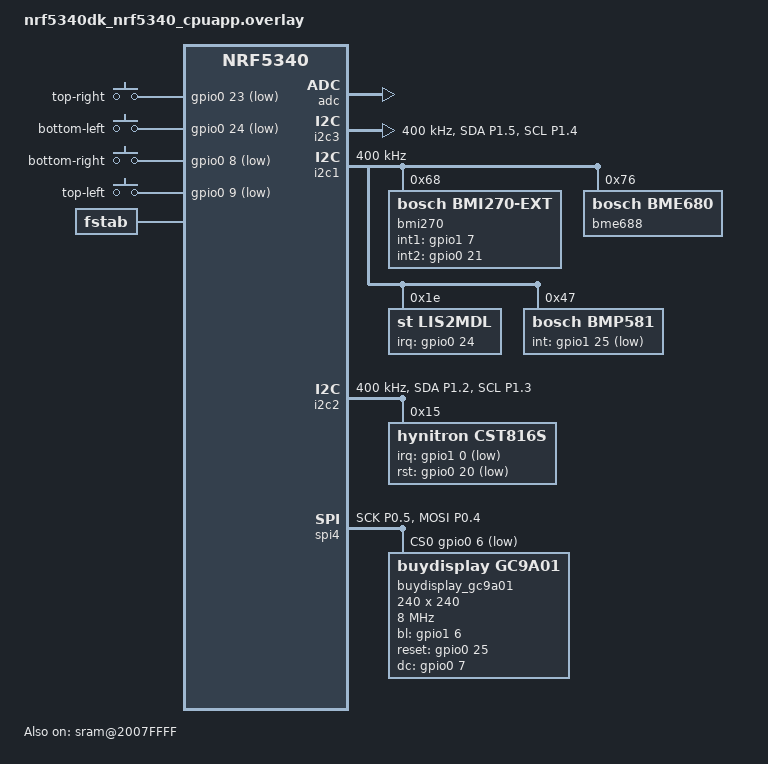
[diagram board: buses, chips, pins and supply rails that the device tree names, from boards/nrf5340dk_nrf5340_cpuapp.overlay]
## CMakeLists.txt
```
cmake_minimum_required(VERSION 3.20.0)

string(REGEX MATCH "zswatch_nrf5340_cpuapp(_ns)?@([0-9]+)$" ZSWATCH_BOARD "${BOARD}")
if(ZSWATCH_BOARD)
    set(ZSWATCH_REV ${CMAKE_MATCH_2})
    add_definitions(-DZSWATCH_REV=${ZSWATCH_REV})
    # Rev 3 and later will handle this later in a different way.
    if(${ZSWATCH_REV} EQUAL 2)
        set(DFU_BUILD true)
        set(PM_STATIC_YML_FILE ${CMAKE_CURRENT_SOURCE_DIR}/partition.yml)
        set(OVERLAY_CONFIG ${CMAKE_CURRENT_SOURCE_DIR}/boards/dfu.conf)
        set(mcuboot_DTC_OVERLAY_FILE ${CMAKE_CURRENT_SOURCE_DIR}/overlays/mcuboot.overlay)
    endif()
endif()

set(BOARD_ROOT ${CMAKE_CURRENT_SOURCE_DIR})
find_package(Zephyr REQUIRED HINTS $ENV{ZEPHYR_BASE})
project(ZSWatchFW)

add_subdirectory(drivers)
add_subdirectory(src/applications)
add_subdirectory(src/ext_drivers/bmi270)
add_subdirectory(src/ext_drivers/bmp581)

include_directories(src/)
include_directories(src/ui)
include_directories(src/applications)

target_sources(app PRIVATE src/main.c)
target_sources(app PRIVATE src/ram_retention_storage.c)
target_sources(app PRIVATE src/zsw_clock.c)
target_sources(app PRIVATE src/zsw_cpu_freq.c)

target_sources(app PRIVATE src/drivers/zsw_display_control.c)
target_sources(app PRIVATE src/drivers/zsw_vibration_motor.c)
target_sources(app PRIVATE src/drivers/zsw_vib_sound.c)

target_sources(app PRIVATE src/managers/zsw_app_manager.c)
target_sources(app PRIVATE src/managers/zsw_notification_manager.c)
target_sources(app PRIVATE src/managers/zsw_battery_manager.c)
target_sources(app PRIVATE src/managers/zsw_power_manager.c)
target_sources(app PRIVATE src/managers/zsw_phone_app_publisher.c)

target_sources(app PRIVATE src/battery/battery.c)
target_sources(app PRIVATE src/battery/zsw_charger.c)

target_sources(app PRIVATE src/ble/ble_aoa.c)
target_sources(app PRIVATE src/ble/ble_comm.c)
target_sources(app PRIVATE src/ble/ble_transport.c)
target_sources(app PRIVATE src/ble/zsw_gatt_sensor_server.c)

target_sources(app PRIVATE src/sensors/zsw_imu.c)
target_sources(app PRIVATE src/sensors/zsw_pressure_sensor.c)
target_sources(app PRIVATE src/sensors/zsw_magnetometer.c)
target_sources(app PRIVATE src/sensors/zsw_env_sensor.c)
target_sources(app PRIVATE src/sensors/zsw_light_sensor.c)

target_sources(app PRIVATE src/ui/notification/zsw_popup_notifcation.c)
target_sources(app PRIVATE src/ui/popup/zsw_popup_window.c)
target_sources(app PRIVATE src/ui/utils/zsw_ui_utils.c)

target_sources_ifdef(CONFIG_SPI_FLASH_LOADER app PRIVATE src/filesystem/zsw_rtt_flash_loader.c)
target_sources_ifdef(CONFIG_FILE_SYSTEM_LITTLEFS app PRIVATE src/filesystem/zsw_filesystem.c)
target_sources_ifdef(CONFIG_FILE_SYSTEM_LITTLEFS app PRIVATE src/filesystem/zsw_lvgl_spi_decoder.c)

if (DFU_BUILD)
    target_sources(app PRIVATE src/dfu.c)
endif()

FILE(GLOB img_sources src/images/*.c)
target_sources(app PRIVATE ${img_sources})

FILE(GLOB font_sources src/images/fonts/*.c)
target_sources(app PRIVATE ${font_sources})

zephyr_sources_ifdef(CONFIG_WATCHFACE_ANALOG src/ui/watchfaces/zsw_watchface_analog_ui.c)
zephyr_sources_ifdef(CONFIG_WATCHFACE_DIGITAL src/ui/watchfaces/zsw_watchface_digital_ui.c)
zephyr_sources_ifdef(CONFIG_WATCHFACE_MINIMAL src/ui/watchfaces/zsw_watchface_minimal_ui.c)

FILE(GLOB events_sources src/events/*.c)
target_sources(app PRIVATE ${events_sources})

add_compile_definitions(LV_LVGL_H_INCLUDE_SIMPLE)
```

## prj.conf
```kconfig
CONFIG_MAIN_STACK_SIZE=2048
CONFIG_SYSTEM_WORKQUEUE_STACK_SIZE=4096
CONFIG_HEAP_MEM_POOL_SIZE=25000
CONFIG_NEWLIB_LIBC_FLOAT_PRINTF=y
CONFIG_CBPRINTF_FP_SUPPORT=y

CONFIG_ASSERT=y
CONFIG_REBOOT=y
CONFIG_DISPLAY=y
CONFIG_BASE64=y

CONFIG_RETAINED_MEM=y
CONFIG_RETENTION=y
CONFIG_RETENTION_BOOT_MODE=y

CONFIG_I2C=y
CONFIG_SENSOR=y
CONFIG_ADC=y
CONFIG_BMI270=n
CONFIG_LIS2MDL=y
CONFIG_LIS2MDL_MAG_ODR_RUNTIME=y

CONFIG_PINCTRL=y
CONFIG_PM_DEVICE=y
CONFIG_PM_DEVICE_RUNTIME=y

CONFIG_PWM=y

CONFIG_SPI=y
CONFIG_GC9A01=y
CONFIG_INPUT=y
CONFIG_REGULATOR=y
CONFIG_REGULATOR_FIXED=y
CONFIG_SHELL=y
CONFIG_REGULATOR_SHELL=y

# LVGL configuration
CONFIG_LVGL=y
CONFIG_LV_Z_FLUSH_THREAD=y
CONFIG_LV_Z_FLUSH_THREAD_PRIO=0
CONFIG_LV_Z_MEM_POOL_NUMBER_BLOCKS=8
CONFIG_LV_MEM_CUSTOM=y
CONFIG_LV_FONT_MONTSERRAT_10=y
CONFIG_LV_FONT_MONTSERRAT_12=y
CONFIG_LV_FONT_MONTSERRAT_14=y
CONFIG_LV_FONT_MONTSERRAT_16=y
CONFIG_LV_FONT_MONTSERRAT_18=y
CONFIG_LV_FONT_MONTSERRAT_20=y
CONFIG_LV_Z_POINTER_INPUT_MSGQ_COUNT=200
CONFIG_LV_Z_POINTER_INPUT=y

# Comment out to show FPS counter
CONFIG_LV_USE_PERF_MONITOR=y
CONFIG_LV_PERF_MONITOR_ALIGN_RIGHT_MID=y

CONFIG_LV_Z_DOUBLE_VDB=y
CONFIG_LV_Z_VDB_SIZE=10
CONFIG_LV_DISP_DEF_REFR_PERIOD=30
CONFIG_LV_INDEV_DEF_READ_PERIOD=30

CONFIG_LV_THEME_DEFAULT_DARK=y

# LVGL Size optimizations
CONFIG_LV_LABEL_TEXT_SELECTION=n
CONFIG_LV_LABEL_LONG_TXT_HINT=n
CONFIG_LV_USE_LOG=n
CONFIG_LV_USE_BAR=y
CONFIG_LV_USE_CANVAS=n
CONFIG_LV_USE_CHECKBOX=n
CONFIG_LV_USE_DROPDOWN=n
CONFIG_LV_USE_LINE=y
CONFIG_LV_USE_ROLLER=n
CONFIG_LV_USE_SLIDER=y
CONFIG_LV_USE_SWITCH=y
CONFIG_LV_USE_TABLE=n
CONFIG_LV_USE_TEXTAREA=n
CONFIG_LV_USE_FLEX=y
CONFIG_LV_USE_ANIMIMG=y
CONFIG_LV_USE_CALENDAR=n
CONFIG_LV_USE_CHART=y
CONFIG_LV_USE_COLORWHEEL=n
CONFIG_LV_USE_IMGBTN=y
CONFIG_LV_USE_KEYBOARD=n
CONFIG_LV_USE_LED=n
CONFIG_LV_USE_LIST=y
CONFIG_LV_USE_MENU=y
CONFIG_LV_USE_METER=y
CONFIG_LV_USE_MSGBOX=y
CONFIG_LV_USE_SPINBOX=n
CONFIG_LV_USE_SPINNER=n
CONFIG_LV_USE_TABVIEW=n
CONFIG_LV_USE_TILEVIEW=n
CONFIG_LV_USE_WIN=n
CONFIG_LV_USE_SPAN=n
CONFIG_LV_USE_USER_DATA=y

CONFIG_LV_COLOR_16_SWAP=y
CONFIG_LV_COLOR_DEPTH_16=y

#
# Memory settings
#
# CONFIG_LV_MEM_CUSTOM is not set
CONFIG_LV_MEM_SIZE_KILOBYTES=25
CONFIG_LV_MEM_ADDR=0x0
CONFIG_LV_MEM_BUF_MAX_NUM=16
# end of Memory settings

# NVS
CONFIG_FLASH=y
CONFIG_FLASH_MAP=y
CONFIG_MPU_ALLOW_FLASH_WRITE=y
CONFIG_FLASH_PAGE_LAYOUT=y
CONFIG_FLASH_MAP_LABELS=y

CONFIG_SETTINGS=y
CONFIG_NVS=y
CONFIG_SETTINGS_NVS=y

# Bluetooth
CONFIG_BT=y
CONFIG_BT_HCI=y
CONFIG_BT_CTLR=n
# Enable Direction Finding TX Feature including AoA and AoD
CONFIG_BT_DF=y
CONFIG_BT_DF_CONNECTIONLESS_CTE_TX=y
# Enable chaining of multiple CTEs in periodic advertising
CONFIG_BT_DEBUG_LOG=n
CONFIG_BT_SMP=y
CONFIG_BT_PERIPHERAL=y
CONFIG_BT_DIS=y
CONFIG_BT_DIS_PNP=n
CONFIG_BT_BAS=y
CONFIG_BT_HRS=n
CONFIG_BT_DEVICE_NAME="ZSWatch"
CONFIG_BT_DEVICE_APPEARANCE=194
CONFIG_BT_KEYS_OVERWRITE_OLDEST=y
CONFIG_BT_SETTINGS=y
CONFIG_BT_MAX_PAIRED=5
CONFIG_BT_MAX_CONN=1
CONFIG_BT_GATT_CLIENT=y
CONFIG_BT_GATT_CACHING=y
CONFIG_BT_GATT_NOTIFY_MULTIPLE=y

CONFIG_BT_EXT_ADV=y
CONFIG_BT_PER_ADV=y

CONFIG_BT_BROADCASTER=y
CONFIG_BT_SMP_ALLOW_UNAUTH_OVERWRITE=y
CONFIG_BT_ECC=y
CONFIG_BT_EXT_ADV_MAX_ADV_SET=2
CONFIG_BT_CONN_TX_MAX=3

CONFIG_BT_L2CAP_TX_MTU=498
CONFIG_BT_BUF_ACL_RX_SIZE=502
CONFIG_BT_BUF_ACL_TX_SIZE=502

# Allows to do some basic UI tasks in BT callbacks.
CONFIG_BT_RX_STACK_SIZE=3000

CONFIG_NEWLIB_LIBC=y
CONFIG_POSIX_API=y

# By default disable UART to save power
CONFIG_SERIAL=n
CONFIG_CONSOLE=n
CONFIG_UART_CONSOLE=n

CONFIG_ZBUS=y
CONFIG_ZBUS_RUNTIME_OBSERVERS=y
CONFIG_ZBUS_CHANNEL_NAME=y
CONFIG_ZBUS_OBSERVER_NAME=y

# Choose one or many of below
CONFIG_WATCHFACE_ANALOG=n
CONFIG_WATCHFACE_DIGITAL=y
CONFIG_WATCHFACE_MINIMAL=y

# Choose one of below
CONFIG_WATCHFACE_BACKGROUND_SPACE=y
CONFIG_WATCHFACE_BACKGROUND_FLOWER=n
CONFIG_WATCHFACE_BACKGROUND_PLANET=n
CONFIG_WATCHFACE_BACKGROUND_NONE=n

# Default watch
CONFIG_POWER_MANAGEMENT_IDLE_TIMEOUT_SECONDS=20
CONFIG_DEFAULT_CONFIGURATION_SENSORS_SUMMARY_REFRESH_INTERVAL_MS=100
CONFIG_DEFAULT_CONFIGURATION_BATTERY_NUM_SAMPLES_MAX=100
CONFIG_DEFAULT_CONFIGURATION_BATTERY_SAMPLE_INTERVAL_MINUTES=30

# CST816S
CONFIG_INPUT_CST816S_INTERRUPT=y
CONFIG_INPUT_CST816S=n
CONFIG_INPUT_MODIFIED_CST816S=y

# APDS9306
CONFIG_APDS9306_IS_APDS9306_065=y
```

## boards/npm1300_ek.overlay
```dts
/*
 * Copyright (C) 2023 Nordic Semiconductor ASA
 * SPDX-License-Identifier: Apache-2.0
 */

#include <dt-bindings/regulator/npm1300.h>
#include <zephyr/dt-bindings/input/input-event-codes.h>

&i2c3 {
	status = "okay";
	npm1300_ek_pmic: pmic@6b {
		compatible = "nordic,npm1300";
		reg = <0x6b>;

		npm1300_ek_gpio: gpio-controller {
			compatible = "nordic,npm1300-gpio";
			gpio-controller;
			#gpio-cells = <2>;
			ngpios = <5>;
		};

		npm1300_ek_regulators: regulators {
			compatible = "nordic,npm1300-regulator";

			/* limits are set to min/max allowed values */
			npm1300_ek_buck1: BUCK1 {
				regulator-min-microvolt = <1800000>;
				regulator-max-microvolt = <3300000>;
			};

			npm1300_ek_buck2: BUCK2 {
				regulator-min-microvolt = <1000000>;
				regulator-max-microvolt = <3300000>;
				regulator-init-microvolt = <3300000>;
				retention-microvolt = <2500000>;
				enable-gpios = <&npm1300_ek_gpio 1 GPIO_ACTIVE_LOW>;
				retention-gpios = <&npm1300_ek_gpio 2 GPIO_ACTIVE_HIGH>;
				pwm-gpios = <&npm1300_ek_gpio 2 GPIO_ACTIVE_LOW>;
			};

			npm1300_ek_ldo1: LDO1 {
				regulator-min-microvolt = <1000000>;
				regulator-max-microvolt = <3300000>;
				regulator-initial-mode = <NPM1300_LDSW_MODE_LDO>;
				enable-gpios = <&npm1300_ek_gpio 2 GPIO_ACTIVE_LOW>;
			};

			npm1300_ek_ldo2: LDO2 {
				regulator-min-microvolt = <1000000>;
				regulator-max-microvolt = <3300000>;
				regulator-initial-mode = <NPM1300_LDSW_MODE_LDSW>;
				enable-gpios = <&npm1300_ek_gpio 2 GPIO_ACTIVE_LOW>;
			};
		};

		npm1300_ek_charger: charger {
			compatible = "nordic,npm1300-charger";
			term-microvolt = <4150000>;
			term-warm-microvolt = <4000000>;
			current-microamp = <150000>;
			dischg-limit-microamp = <1000000>;
			vbus-limit-microamp = <500000>;
			thermistor-ohms = <10000>;
			thermistor-beta = <3380>;
			charging-enable;
		};

		npm1300_ek_buttons: buttons {
			compatible = "gpio-keys";
			pmic_button0: pmic_button_0 {
				gpios = < &npm1300_ek_gpio 0 GPIO_ACTIVE_HIGH>;
				label = "Pmic button switch 0";
			zephyr,code = <INPUT_KEY_0>;
			};
		};

		npm1300_ek_leds: leds {
			compatible = "nordic,npm1300-led";
			nordic,led0-mode = "error";
			nordic,led1-mode = "charging";
			nordic,led2-mode = "host";
		};
	};
};
```

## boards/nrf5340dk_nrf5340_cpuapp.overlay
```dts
/*
 * Copyright (c) 2023 Jakob Krantz
 *
 * SPDX-License-Identifier: Apache-2.0
 */

 &pinctrl {
    // Set to I2C pins that the sensors are connected to
    i2c3_default: i2c3_default {
        group1 {
            psels = <NRF_PSEL(TWIM_SDA, 1, 5)>,
                <NRF_PSEL(TWIM_SCL, 1, 4)>;
        };
    };

    i2c3_sleep: i2c3_sleep {
        group1 {
            psels = <NRF_PSEL(TWIM_SDA, 1, 5)>,
                <NRF_PSEL(TWIM_SCL, 1, 4)>;
            low-power-enable;
        };
    };

    // Set to I2C pins that the touch screen is connected to
    i2c2_default: i2c2_default {
        group1 {
            psels = <NRF_PSEL(TWIM_SDA, 1, 2)>,
                <NRF_PSEL(TWIM_SCL, 1, 3)>;
        };
    };

    i2c2_sleep: i2c2_sleep {
        group1 {
            psels = <NRF_PSEL(TWIM_SDA, 1, 2)>,
                <NRF_PSEL(TWIM_SCL, 1, 3)>;
            low-power-enable;
        };
    };

    // Set to the pins that the display is connected to
    spi4_default: spi4_default {
        group1 {
            psels = <NRF_PSEL(SPIM_SCK, 0, 5)>,
                <NRF_PSEL(SPIM_MOSI, 0, 4)>;
        };
    };

    spi4_sleep: spi4_sleep {
        group1 {
            psels = <NRF_PSEL(SPIM_SCK, 0, 5)>,
                <NRF_PSEL(SPIM_MOSI, 0, 4)>;
            low-power-enable;
        };
    };

};

/ {
    chosen {
        zephyr,display = &gc9a01;
        zephyr,keyboard-scan = &cst816s;
    };

    aliases {
        sw-top-right = &button2;
        sw-top-left = &button1;
        sw-bottom-right = &button0;
        sw-bottom-left = &button3;
        magn = &lis2mdl;
        accel = &bmi270;
        input = &cst816s;
    };

    longpress: longpress {
        input = <&buttons>;
        compatible = "zephyr,input-longpress";
        input-codes = <INPUT_KEY_KP0>;
        short-codes = <INPUT_KEY_4>;
        long-codes = <INPUT_KEY_Y>;
        long-delay-ms = <1000>;
    };

    buttons: buttons {
        compatible = "gpio-keys";
        button0: button_0 {
            label = "top-right";
            gpios = <&gpio0 23 (GPIO_PULL_UP | GPIO_ACTIVE_LOW)>;
            zephyr,code = <INPUT_KEY_1>;
        };
        button1: button_1 {
            label = "bottom-left";
            gpios = <&gpio0 24 (GPIO_PULL_UP | GPIO_ACTIVE_LOW)>;
            zephyr,code = <INPUT_KEY_2>;
        };
        button2: button_2 {
            label = "bottom-right";
            gpios = <&gpio0 8 (GPIO_PULL_UP | GPIO_ACTIVE_LOW)>;
            zephyr,code = <INPUT_KEY_3>;
        };
        button3: button_3 {
            label = "top-left";
            gpios = <&gpio0 9 (GPIO_PULL_UP | GPIO_ACTIVE_LOW)>;
            zephyr,code = <INPUT_KEY_KP0>;
        };
    };
};

&adc {
    status = "okay";
};

&gpiote {
    status = "okay";
};

&gpio0 {
    status = "okay";
    sense-edge-mask = < 0xffffffff >;
};

&gpio1 {
    status = "okay";
};

&i2c3_default {
    status = "okay";
};

&i2c3_default {
	group1 {
		bias-pull-up;
	};
};

&i2c3 {
    compatible = "nordic,nrf-twim";
    status = "okay";
    clock-frequency = <I2C_BITRATE_FAST>;
    zephyr,concat-buf-size = <512>;
    pinctrl-0 = <&i2c3_default>;
    pinctrl-1 = <&i2c3_sleep>;
    pinctrl-names = "default", "sleep";
};

&i2c1 {
    compatible = "nordic,nrf-twim";
    status = "okay";
    clock-frequency = <I2C_BITRATE_FAST>;
    zephyr,concat-buf-size = <512>;
    pinctrl-0 = <&i2c1_default>;
    pinctrl-1 = <&i2c1_sleep>;
    pinctrl-names = "default", "sleep";

    bmi270: bmi270@68 {
        compatible = "bosch,bmi270-ext";
        reg = <0x68>;
        int1-gpios = <&gpio1 7 GPIO_ACTIVE_HIGH>;
        int2-gpios = <&gpio0 21 GPIO_ACTIVE_HIGH>;
    };

    bme688: bme688@76 {
        compatible = "bosch,bme680";
        reg = <0x76>;
    };

    lis2mdl: lis2mdl@1e {
        compatible = "st,lis2mdl";
        reg = <0x1e>;
        irq-gpios = <&gpio0 24 0>;
    };

    bmp581: bmp581@47 {
        compatible = "bosch,bmp581";
        reg = <0x47>;
        int-gpios = <&gpio1 25 (GPIO_PULL_UP | GPIO_ACTIVE_LOW)>;
    };
};

&i2c2 {
    compatible = "nordic,nrf-twim";
    status = "okay";
    clock-frequency = <I2C_BITRATE_FAST>;
    pinctrl-0 = <&i2c2_default>;
    pinctrl-1 = <&i2c2_sleep>;
    pinctrl-names = "default", "sleep";

    cst816s: cst816s@15 {
        compatible = "hynitron,cst816s";
        reg = <0x15>;
        irq-gpios = <&gpio1 0 GPIO_ACTIVE_LOW>;
        rst-gpios = <&gpio0 20 GPIO_ACTIVE_LOW>;
    };
};

&spi4  {
    status = "okay";
    compatible = "nordic,nrf-spim";
    pinctrl-0 = <&spi4_default>;
    pinctrl-1 = <&spi4_sleep>;
    pinctrl-names = "default", "sleep";
    cs-gpios = <&gpio0 6 GPIO_ACTIVE_LOW>;

    gc9a01: gc9a01@0 {
        compatible = "buydisplay,gc9a01";
        status = "okay";
        spi-max-frequency = <8000000>;
        reg = <0>;
        width = <240>;
        label = "buydisplay_gc9a01";
        height = <240>;
        bl-gpios = <&gpio1 6 GPIO_ACTIVE_HIGH>;
        reset-gpios = <&gpio0 25 GPIO_ACTIVE_HIGH>;
        dc-gpios = <&gpio0 7 GPIO_ACTIVE_HIGH>;
    };
};


/ {
	fstab {
		compatible = "zephyr,fstab";
		lvgl_lfs: lvgl_lfs {
			compatible = "zephyr,fstab,littlefs";
			mount-point = "/lvgl_lfs";
			partition = <&lvgl_lfs_partition>;
			automount;
			read-size = <1024>;
			prog-size = <512>;
			cache-size = <4096>;
			lookahead-size = <4096>;
			block-cycles = <512>;
		};
	};
};

&mx25r64 {
	partitions {
		compatible = "fixed-partitions";
		#address-cells = <1>;
		#size-cells = <1>;

		lvgl_lfs_partition: partition@0 {
			label = "lvgl_lfs_partition";
			reg = <0x00000000 0x00200000>;
		};
		lvgl_raw_partition: partition@200000 {
			label = "lvgl_raw_partition";
			reg = <0x00200000 0x00200000>;
		};
        settings_partition: partition@400000 {
            label = "settings_partition";
            reg = <0x400000 0x100000 >;
        };
	};
};

/ {
    sram@2007FFFF {
        compatible = "zephyr,memory-region", "mmio-sram";
        reg = <0x2007FFFF 0x1>;
        zephyr,memory-region = "RetainedMem";
        status = "okay";

        retainedmem {
            compatible = "zephyr,retained-ram";
            status = "okay";
            #address-cells = <1>;
            #size-cells = <1>;

            retention0: retention@0 {
                compatible = "zephyr,retention";
                status = "okay";
                reg = <0x0 0x1>;
            };
        };
    };

    chosen {
            zephyr,boot-mode = &retention0;
    };
};

/* Reduce SRAM0 usage by 4 byte to account for non-init area
* Even though boot mode is only one byte, nrfjprog only allows
* 4 byte writes, hence reserve 4.
*/
&sram0 {
    reg = <0x20000000 0x7FFFC>;
};
```

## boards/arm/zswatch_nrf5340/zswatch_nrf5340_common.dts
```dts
/*
 * Copyright (c) 2023 Jakob Krantz
 *
 * SPDX-License-Identifier: Apache-2.0
 */
#include "zswatch_nrf5340_common-pinctrl.dtsi"
#include <zephyr/dt-bindings/input/input-event-codes.h>

/ {
    chosen {
        zephyr,console = &uart0;
        zephyr,shell-uart = &uart0;
        zephyr,uart-mcumgr = &uart0;
        zephyr,bt-mon-uart = &uart0;
        zephyr,bt-c2h-uart = &uart0;
        zephyr,bt-hci-rpmsg-ipc = &ipc0;
        zephyr,ieee802154 = &ieee802154;
        zephyr,display = &gc9a01;
    };

    vbatt {
        compatible = "voltage-divider";
        io-channels = <&adc 7>;
        output-ohms = <220000>;
        full-ohms = <(1500000 + 220000)>;
        power-gpios = <&gpio1 10 0>;
    };

    pwmleds {
        compatible = "pwm-leds";
        display_blk: pwm_led_0 {
            pwms = <&pwm0 0 PWM_MSEC(5) 0>;
        };
        vibrator_pwm: pwm_led_1 {
            //pwms = <&pwm1 0 PWM_MSEC(20) 0>;
            pwms = <&pwm1 0 PWM_HZ(880) PWM_POLARITY_NORMAL>;
        };
    };

    lvgl_pointer {
        compatible = "zephyr,lvgl-pointer-input";
        input = <&cst816s>;
        swap-xy;
        invert-x;
    };

    aliases {
        display-blk = &display_blk;
        vibrator-pwm = &vibrator_pwm;
        sw1 = &button1;
        sw2 = &button2;
        sw3 = &button3;
        sw4 = &button4;
        sw-top-right = &button1;
        sw-top-left = &button4;
        sw-bottom-right = &button3;
        sw-bottom-left = &button2;
        magn = &lis2mdl;
        watchdog0 = &wdt0;
        accel = &bmi270;
        mcuboot-button1 = &button1;
    };
};

&pwm0 {
    status = "okay";
    pinctrl-0 = <&pwm0_default>;
    pinctrl-1 = <&pwm0_sleep>;
    pinctrl-names = "default", "sleep";
};

&pwm1 {
    status = "okay";
    pinctrl-0 = <&pwm1_default>;
    pinctrl-1 = <&pwm1_sleep>;
    pinctrl-names = "default", "sleep";
};

&adc {
    status = "okay";
};

&gpiote {
    status = "okay";
};

&gpio0 {
    status = "okay";
    sense-edge-mask = <0xffffffff>;
};

&gpio1 {
    status = "okay";
};

&i2c1 {
    compatible = "nordic,nrf-twim";
    status = "okay";
    clock-frequency = <I2C_BITRATE_FAST>;
    zephyr,concat-buf-size = <512>;

    pinctrl-0 = <&i2c1_default>;
    pinctrl-1 = <&i2c1_sleep>;
    pinctrl-names = "default", "sleep";
    
    bme688: bme688@76 {
        compatible = "bosch,bme680";
        reg = <0x76>;
    };

    lis2mdl: lis2mdl@1e {
        compatible = "st,lis2mdl";
        reg = <0x1e>;
        irq-gpios = <&gpio0 24 0>;
        cancel-offset;
    };

    bmp581: bmp581@47 {
        compatible = "bosch,bmp581";
        reg = <0x47>;
        int-gpios = <&gpio0 25 (GPIO_PULL_UP | GPIO_ACTIVE_LOW)>;
    };

};

&i2c2 {
    compatible = "nordic,nrf-twim";
    status = "okay";
    clock-frequency = <I2C_BITRATE_FAST>;

    pinctrl-0 = <&i2c2_default>;
    pinctrl-1 = <&i2c2_sleep>;
    pinctrl-names = "default", "sleep";

    cst816s: cst816s@15 {
        compatible = "hynitron,cst816s";
        reg = <0x15>;
        irq-gpios = <&gpio1 0 GPIO_ACTIVE_LOW>;
        rst-gpios = <&gpio0 20 GPIO_ACTIVE_LOW>;
    };
};

/* UART0 GPIOs can be configured for other use-cases */
&uart0 {
    current-speed = <115200>;
    status = "okay";
    pinctrl-0 = <&uart0_default>;
    pinctrl-1 = <&uart0_sleep>;
    pinctrl-names = "default", "sleep";
};

&timer0 {
    status = "okay";
};

&timer1 {
    status = "okay";
};

&timer2 {
    status = "okay";
};

&flash0 {
    partitions {
        compatible = "fixed-partitions";
        #address-cells = <1>;
        #size-cells = <1>;

        boot_partition: partition@0 {
            label = "mcuboot";
            reg = <0x00000000 0x00010000>;
        };
        slot0_partition: partition@10000 {
            label = "image-0";
        };
        slot0_ns_partition: partition@50000 {
            label = "image-0-nonsecure";
        };
        slot1_partition: partition@80000 {
            label = "image-1";
        };
        slot1_ns_partition: partition@c0000 {
            label = "image-1-nonsecure";
        };
        scratch_partition: partition@f0000 {
            label = "image-scratch";
            reg = <0x000f0000 0xa000>;
        };
        storage_partition: partition@fa000 {
            label = "storage";
            reg = <0x000fa000 0x00006000>;
        };
    };
};

zephyr_udc0: &usbd {
    compatible = "nordic,nrf-usbd";
    status = "okay";
};

/ {

    reserved-memory {
        #address-cells = <1>;
        #size-cells = <1>;
        ranges;

        sram0_image: image@20000000 {
            /* Zephyr image(s) memory */
        };

        sram0_s: image_s@20000000 {
            /* Secure image memory */
        };

        sram0_ns: image_ns@20040000 {
            /* Non-Secure image memory */
        };
    };
};

/ {
    sram@2007FFFF {
        compatible = "zephyr,memory-region", "mmio-sram";
        reg = <0x2007FFFF 0x1>;
        zephyr,memory-region = "RetainedMem";
        status = "okay";

        retainedmem {
            compatible = "zephyr,retained-ram";
            status = "okay";
            #address-cells = <1>;
            #size-cells = <1>;

            retention0: retention@0 {
                compatible = "zephyr,retention";
                status = "okay";
                reg = <0x0 0x1>;
            };
        };
    };

    chosen {
            zephyr,boot-mode = &retention0;
    };
};

/* Reduce SRAM0 usage by 4 byte to account for non-init area
* Even though boot mode is only one byte, nrfjprog only allows
* 4 byte writes, hence reserve 4.
*/
&sram0 {
    reg = <0x20000000 0x7FFFC>;
};

/* Include partition configuration file */
#include "zswatch_nrf5340_partition_conf.dts"
```

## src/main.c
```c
/*
 * This file is part of ZSWatch project <https://github.com/jakkra/ZSWatch/>.
 * Copyright (c) 2023 Jakob Krantz.
 *
 * This program is free software: you can redistribute it and/or modify
 * it under the terms of the GNU General Public License as published by
 * the Free Software Foundation, version 3.
 *
 * This program is distributed in the hope that it will be useful, but
 * WITHOUT ANY WARRANTY; without even the implied warranty of
 * MERCHANTABILITY or FITNESS FOR A PARTICULAR PURPOSE. See the GNU
 * General Public License for more details.
 *
 * You should have received a copy of the GNU General Public License
 * along with this program. If not, see <http://www.gnu.org/licenses/>.
 */

#include <zephyr/device.h>
#include <stdio.h>
#include <string.h>
#include <zephyr/kernel.h>
#include <zephyr/bluetooth/bluetooth.h>
#include <zephyr/settings/settings.h>
#include <zephyr/logging/log.h>
#include <zephyr/logging/log_ctrl.h>
#include <zsw_clock.h>
#include <lvgl.h>
#include <sys/time.h>
#include <zephyr/zbus/zbus.h>
#include <zsw_cpu_freq.h>
#include <zephyr/bluetooth/bluetooth.h>
#include <zephyr/task_wdt/task_wdt.h>
#include <zephyr/fatal.h>
#include <zephyr/input/input.h>
#include <zephyr/retention/bootmode.h>
#include <zephyr/sys/reboot.h>
#include "dfu.h"
#include "ui/zsw_ui.h"
#include "ble/ble_comm.h"
#include "ble/ble_aoa.h"
#include "battery/battery.h"
#include "battery/zsw_charger.h"
#include "events/accel_event.h"
#include "events/ble_data_event.h"
#include "sensors/zsw_imu.h"
#include "sensors/zsw_magnetometer.h"
#include "sensors/zsw_pressure_sensor.h"
#include <ram_retention_storage.h>
#include "drivers/zsw_vibration_motor.h"
#include "drivers/zsw_display_control.h"
#include "managers/zsw_power_manager.h"
#include "managers/zsw_app_manager.h"
#include "managers/zsw_notification_manager.h"
#include "applications/watchface/watchface_app.h"
#include <filesystem/zsw_rtt_flash_loader.h>

LOG_MODULE_REGISTER(main, LOG_LEVEL_WRN);

#define TASK_WDT_FEED_INTERVAL_MS  3000

typedef enum ui_state {
    INIT_STATE,
    WATCHFACE_STATE,
    APPLICATION_MANAGER_STATE,
} ui_state_t;

static struct input_worker_item_t {
    struct k_work work;
    struct input_event event;
} input_worker_item;

struct input_event last_input_event;

static void run_input_work(struct k_work *item);
static void run_init_work(struct k_work *item);

static void run_wdt_work(struct k_work *item);
static void enable_bluetoth(void);
static bool load_retention_ram(void);
static void enocoder_read(struct _lv_indev_drv_t *indev_drv, lv_indev_data_t *data);
static void click_feedback(struct _lv_indev_drv_t *drv, uint8_t e);
static void open_notification_popup(void *data);
static void async_turn_off_buttons_allocation(void *unused);
static void open_application_manager_page(void *app_name);
static void handle_screen_gesture(lv_dir_t event_code);

static void on_application_manager_close(void);
static void on_popup_notifcation_closed(uint32_t id);
static void on_ble_data_callback(ble_comm_cb_data_t *cb);
static void on_zbus_ble_data_callback(const struct zbus_channel *chan);
static void on_input_subsys_callback(struct input_event *evt);
static void on_watchface_app_event_callback(watchface_app_evt_t evt);
#ifdef CONFIG_BOARD_NATIVE_POSIX
static void on_lvgl_screen_gesture_event_callback(lv_event_t *e);
#endif

static int kernal_wdt_id;

static lv_group_t *input_group;
static lv_group_t *temp_group;

static lv_indev_drv_t enc_drv;
static lv_indev_t *enc_indev;
static uint8_t last_pressed;

static bool pending_not_open;
static bool is_buttons_for_lvgl = false;

static ui_state_t watch_state = INIT_STATE;

K_WORK_DELAYABLE_DEFINE(wdt_work, run_wdt_work);
K_WORK_DEFINE(init_work, run_init_work);
K_WORK_DEFINE(input_work, run_input_work);

ZBUS_CHAN_DECLARE(ble_comm_data_chan);
ZBUS_LISTENER_DEFINE(main_ble_comm_lis, on_zbus_ble_data_callback);

static void run_input_work(struct k_work *item)
{
    struct input_worker_item_t *container = CONTAINER_OF(item, struct input_worker_item_t, work);

    LOG_DBG("Input worker code: %u", container->event.code);

    // Don't process the press if it caused wakeup.
    if (zsw_power_manager_reset_idle_timout()) {
        return;
    }

    switch (container->event.code) {
        // Button event
        // Always allow force restart.
        case (INPUT_KEY_Y): {
            LOG_INF("Force restart");

            retained.off_count += 1;
            retained_update();
            sys_reboot(SYS_REBOOT_COLD);

            break;
        }
        // Button event
        case INPUT_KEY_3: {
            if (zsw_notification_popup_is_shown()) {
                zsw_notification_popup_remove();
            } else if (watch_state == APPLICATION_MANAGER_STATE) {
                zsw_app_manager_exit_app();

                return;
            }

            break;
        }
        case INPUT_KEY_1: {
            if ((watch_state == WATCHFACE_STATE) && !zsw_notification_popup_is_shown()) {
                zsw_vibration_run_pattern(ZSW_VIBRATION_PATTERN_CLICK);
                lv_async_call(open_application_manager_page, NULL);
            }

            break;
        }
    }

    // Handle the input events. We have to take care about the screen orientation for the touch events.
    lv_dir_t gesture_code = LV_DIR_NONE;
    switch (container->event.code) {
        // Watch: Slide from right to left.
        case INPUT_BTN_NORTH: {
            gesture_code = LV_DIR_LEFT;
            break;
        }
        // Watch: Slide from left to right.
        case INPUT_BTN_SOUTH: {
            gesture_code = LV_DIR_RIGHT;
            break;
        }
        // Watch: Slide from bottom to top.
        case INPUT_BTN_WEST: {
            gesture_code = LV_DIR_TOP;
            break;
        }
        // Watch: Slide from top to bottom.
        case INPUT_BTN_EAST: {
            gesture_code = LV_DIR_BOTTOM;
            break;
        }
    }

    if (is_buttons_for_lvgl && (gesture_code == LV_DIR_NONE)) {
        // Handled by LVGL
        last_input_event.code = container->event.code;
        return;
    }

    if (gesture_code != LV_DIR_NONE) {
        handle_screen_gesture(gesture_code);
    }
}

static void run_init_work(struct k_work *item)
{
    lv_indev_t *touch_indev;

    load_retention_ram();
    zsw_notification_manager_init();
    //enable_bluetoth();
    //zsw_imu_init();
    //zsw_magnetometer_init();
    //zsw_pressure_sensor_init();
    zsw_clock_init(retained.current_time_seconds);
    // Not to self, PWM consumes like 250uA...
    // Need to disable also when screen is off.
    zsw_display_control_init();
    zsw_display_control_sleep_ctrl(true);

    INPUT_CALLBACK_DEFINE(NULL, on_input_subsys_callback);

    lv_indev_drv_init(&enc_drv);
    enc_drv.type = LV_INDEV_TYPE_ENCODER;
    enc_drv.read_cb = enocoder_read;
    enc_drv.feedback_cb = click_feedback;
    enc_indev = lv_indev_drv_register(&enc_drv);

    input_group = lv_group_create();
    temp_group = lv_group_create();
    lv_group_set_default(input_group);
    lv_indev_set_group(enc_indev, input_group);

    touch_indev = lv_indev_get_next(NULL);
    while (touch_indev) {
        if (lv_indev_get_type(touch_indev) == LV_INDEV_TYPE_POINTER) {
            // TODO First fix so not all presses everywhere are registered as clicks and cause vibration
            // Clicking anywehere with this below added right now will cause a vibration, which
            // is not what we want
            // touch_indev->driver->feedback_cb = click_feedback;
            break;
        }
        touch_indev = lv_indev_get_next(touch_indev);
    }

    watch_state = WATCHFACE_STATE;

#ifdef CONFIG_BOARD_NATIVE_POSIX
    lv_obj_add_event_cb(lv_scr_act(), on_lvgl_screen_gesture_event_callback, LV_EVENT_GESTURE, NULL);
#endif

    watchface_app_start(input_group, on_watchface_app_event_callback);
}

void run_wdt_work(struct k_work *item)
{
    task_wdt_feed(kernal_wdt_id);
    k_work_schedule(&wdt_work, K_MSEC(TASK_WDT_FEED_INTERVAL_MS));
}

int main(void)
{
#ifdef CONFIG_SPI_FLASH_LOADER
    if (bootmode_check(0xA)) {
        LOG_WRN("SPI Flash Loader Boot Mode");
        bootmode_clear();
        zsw_rtt_flash_loader_start();
        return 0;
    }
#endif
#if defined(CONFIG_TASK_WDT) && !defined(CONFIG_BOARD_NATIVE_POSIX)
    const struct device *hw_wdt_dev = DEVICE_DT_GET(DT_ALIAS(watchdog0));
    if (!device_is_ready(hw_wdt_dev)) {
        printk("Hardware watchdog %s is not ready; ignoring it.\n",
               hw_wdt_dev->name);
        hw_wdt_dev = NULL;
    }

    task_wdt_init(hw_wdt_dev);
    kernal_wdt_id = task_wdt_add(TASK_WDT_FEED_INTERVAL_MS * 2, NULL, NULL);

    k_work_schedule(&wdt_work, K_NO_WAIT);
#endif
    // The init code requires a bit of stack.
    // So in order to not increase CONFIG_MAIN_STACK_SIZE and loose
    // this RAM forever, instead re-use the system workqueue for init
    // it has the required amount of stack.
    k_work_submit(&init_work);

    return 0;
}

static void enable_bluetoth(void)
{
    int err;

#ifdef CONFIG_BOARD_NATIVE_POSIX
    bt_addr_le_t addr;

    err = bt_addr_le_from_str("DE:AD:BE:EF:BA:11", "random", &addr);
    if (err) {
        LOG_ERR("Invalid BT address (err %d)", err);
    }

    err = bt_id_create(&addr, NULL);
    if (err < 0) {
        LOG_ERR("Creating new ID failed (err %d)", err);
    }
#endif

    err = bt_enable(NULL);

#ifdef CONFIG_SETTINGS
    settings_load();
#endif
    if (err != 0) {
        LOG_ERR("Failed to enable Bluetooth, err: %d", err);
        return;
    }

    __ASSERT_NO_MSG(ble_comm_init(on_ble_data_callback) == 0);
    bleAoaInit();
}

static bool load_retention_ram(void)
{
    bool retained_ok = retained_validate();
    //memset(&retained, 0, sizeof(retained));
    /* Increment for this boot attempt and update. */
    retained.boots += 1;
    retained_update();

    LOG_DBG("Retained data: %s\n", retained_ok ? "valid" : "INVALID");
    LOG_DBG("Boot count: %u\n", retained.boots);
    LOG_DBG("uptime_latest: %" PRIu64 "\n", retained.uptime_latest);
    LOG_DBG("Active Ticks: %" PRIu64 "\n", retained.uptime_sum);

    return retained_ok;
}

static void open_notification_popup(void *data)
{
    zsw_not_mngr_notification_t *not = zsw_notification_manager_get_newest();
    if (not != NULL) {
        lv_group_set_default(temp_group);
        lv_indev_set_group(enc_indev, temp_group);
        zsw_vibration_run_pattern(ZSW_VIBRATION_PATTERN_NOTIFICATION);
        zsw_notification_popup_show(not->title, not->body, not->src, not->id, on_popup_notifcation_closed, 10);
        is_buttons_for_lvgl = true;
    }
    pending_not_open = false;
}

static void open_application_manager_page(void *app_name)
{
    watchface_app_stop();
    is_buttons_for_lvgl = true;
    watch_state = APPLICATION_MANAGER_STATE;
    zsw_app_manager_show(on_application_manager_close, lv_scr_act(), input_group, (char *)app_name);
}

static void close_popup_notification(lv_timer_t *timer)
{
    int msg_len;
    char buf[100];
    uint32_t id;

    id = (uint32_t)timer->user_data;
    // Notification was dismissed, hence consider it read.
    zsw_notification_manager_remove(id);

    lv_group_set_default(input_group);
    lv_indev_set_group(enc_indev, input_group);
    if (watch_state == WATCHFACE_STATE) {
        is_buttons_for_lvgl = 0;
    } else {
        is_buttons_for_lvgl = 1;
    }

    memset(buf, 0, sizeof(buf));

    // Send to phone notification read => It will be remove on phone too.
    msg_len = snprintf(buf, sizeof(buf), "{\"t\":\"notify\", \"id\": %d, \"n\": %s} \n", id, "\"DISMISS\"");
    ble_comm_send(buf, msg_len);
}

static void on_popup_notifcation_closed(uint32_t id)
{
    lv_timer_t *timer;
    // Changing back input group directly here causes LVGL
    // to not remove the notifcation for some reason.
    // Maybe a bug, or something done wrong.
    // Anyway doing it after a while instead seems to fix
    // the problem.
    timer = lv_timer_create(close_popup_notification, 500,  (void *)id);
    lv_timer_set_repeat_count(timer, 1);
}

static void on_application_manager_close(void)
{
    zsw_app_manager_delete();
    watch_state = WATCHFACE_STATE;
    watchface_app_start(input_group, on_watchface_app_event_callback);
    lv_async_call(async_turn_off_buttons_allocation, NULL);
}

static void async_turn_off_buttons_allocation(void *unused)
{
    is_buttons_for_lvgl = false;
}

static void on_input_subsys_callback(struct input_event *evt)
{
    // Currently you have to define a keycode as binding between buttons and longpress. We skip this binding codes for now.
    // Also touch events will be skipped, because they are handled by LVGL.
    // TODO: Charger is also ignored for now.
    // TODO: Replace this filtering with a propper device filtering setup for the input handler
    if ((evt->code == INPUT_ABS_X) || (evt->code == INPUT_ABS_Y) || (evt->code == INPUT_BTN_TOUCH) ||
        (evt->code == INPUT_KEY_KP0) || (evt->code == INPUT_KEY_POWER) || (evt->value == 1)) {
        return;
    }

    input_worker_item.event = *evt;
    input_worker_item.work = input_work;
    k_work_submit(&input_worker_item.work);
}

static void handle_screen_gesture(lv_dir_t event_code)
{
    if (watch_state == WATCHFACE_STATE && !zsw_notification_popup_is_shown()) {
        switch (event_code) {
            case LV_DIR_LEFT: {
                open_application_manager_page("Notification");
                break;
            }
            case LV_DIR_RIGHT: {
                watchface_change();
                break;
            }
            case LV_DIR_TOP: {
                open_application_manager_page("Settings");
                break;
            }
            case LV_DIR_BOTTOM: {
                open_application_manager_page(NULL);
                break;
            }
            default:
                __ASSERT(false, "Not a valid gesture code: %d", event_code);
        }
        lv_indev_wait_release(lv_indev_get_act());
    } else if (zsw_notification_popup_is_shown()) {
        zsw_notification_popup_remove();
    } else if (watch_state == APPLICATION_MANAGER_STATE && event_code == LV_DIR_RIGHT) {
#ifdef CONFIG_BOARD_NATIVE_POSIX
        // Until there is a better way to go back without access to buttons.
        zsw_app_manager_exit_app();
#endif
    }
}

#ifdef CONFIG_BOARD_NATIVE_POSIX
static void on_lvgl_screen_gesture_event_callback(lv_event_t *e)
{
    lv_dir_t  dir;
    lv_event_code_t event = lv_event_get_code(e);
    if (event == LV_EVENT_GESTURE) {
        dir = lv_indev_get_gesture_dir(lv_indev_get_act());
        handle_screen_gesture(dir);
    }
}
#endif

static void enocoder_read(struct _lv_indev_drv_t *indev_drv, lv_indev_data_t *data)
{
    if (!is_buttons_for_lvgl) {
        return;
    }

    if (last_input_event.code == INPUT_KEY_4) {
        data->key = LV_KEY_LEFT;
        data->state = LV_INDEV_STATE_PR;
        last_pressed = 2;
    } else if (last_input_event.code == INPUT_KEY_1) {
        data->key = LV_KEY_ENTER;
        data->state = LV_INDEV_STATE_PR;
        last_pressed = 1;
    } else if (last_input_event.code == INPUT_KEY_2) {
        data->key = LV_KEY_RIGHT;
        data->state = LV_INDEV_STATE_PR;
        last_pressed = 3;
    } else if (last_input_event.code == INPUT_KEY_3) {
        // Not used for now. TODO exit/back button.
    } else {
        if (last_pressed == 0xFF) {
            return;
        }
        data->state = LV_INDEV_STATE_REL;
        switch (last_pressed) {
            case 2:
                data->key = LV_KEY_RIGHT;
                break;
            case 1:
                data->key = LV_KEY_ENTER;
                break;
            case 3:
                data->key = LV_KEY_LEFT;
                break;
            default:
                break;
        }
        last_pressed = 0xFF;
    }

    last_input_event.code = 0xFF;
}

static void on_watchface_app_event_callback(watchface_app_evt_t evt)
{
    if (watch_state == WATCHFACE_STATE && !zsw_notification_popup_is_shown()) {
        switch (evt) {
            case WATCHFACE_APP_EVT_CLICK_BATT:
                open_application_manager_page("Battery");
                break;
            case WATCHFACE_APP_EVT_CLICK_STEP:
                break;
            case WATCHFACE_APP_EVT_CLICK_WEATHER:
                break;
            default:
                break;
        }
    }
}

static void click_feedback(struct _lv_indev_drv_t *drv, uint8_t e)
{
    if (e == LV_EVENT_CLICKED) {
        zsw_vibration_run_pattern(ZSW_VIBRATION_PATTERN_CLICK);
    }
}

static void on_ble_data_callback(ble_comm_cb_data_t *cb)
{
    zsw_not_mngr_notification_t *parsed_not;

    switch (cb->type) {
        case BLE_COMM_DATA_TYPE_NOTIFY:
            parsed_not = zsw_notification_manager_add(&cb->data.notify);
            if (!parsed_not) {
                return;
            }

            if (zsw_notification_popup_is_shown() || pending_not_open) {
                return;
            }

            pending_not_open = true;

            if (zsw_power_manager_get_state() != ZSW_ACTIVITY_STATE_NOT_WORN_STATIONARY) {
                zsw_power_manager_reset_idle_timout();
                lv_async_call(open_notification_popup, NULL);
            }
            break;

        default:
            break;
    }
}

static void on_zbus_ble_data_callback(const struct zbus_channel *chan)
{
    const struct ble_data_event *event = zbus_chan_const_msg(chan);
    switch (event->data.type) {
        case BLE_COMM_DATA_TYPE_NOTIFY:
            // TODO, this one not supported yet through events
            // Handled in ble_comm callback for now
            break;
        case BLE_COMM_DATA_TYPE_NOTIFY_REMOVE:
            if (zsw_notification_manager_remove(event->data.data.notify_remove.id) != 0) {
                LOG_WRN("Notification %d not found", event->data.data.notify_remove.id);
            }
            break;
        case BLE_COMM_DATA_TYPE_SET_TIME: {
            struct timespec tspec;
            tspec.tv_sec = event->data.data.time.seconds;
            tspec.tv_nsec = 0;
            clock_settime(CLOCK_REALTIME, &tspec);
            break;
        }
        case BLE_COMM_DATA_TYPE_WEATHER:
            break;
        case BLE_COMM_DATA_TYPE_REMOTE_CONTROL:
            // TODO: Add correct enum
            if (event->data.data.remote_control.button == 4) {
                zsw_power_manager_reset_idle_timout();
                if (watch_state == APPLICATION_MANAGER_STATE) {
                    zsw_app_manager_delete();
                    zsw_app_manager_set_index(0);
                    is_buttons_for_lvgl = false;
                    watch_state = WATCHFACE_STATE;
                    watchface_app_start(input_group, on_watchface_app_event_callback);
                }
            } else {
                // TODO: Can we rework it with triggering input events?
                //button_set_fake_press((buttonId_t)event->data.data.remote_control.button, true);
            }

            break;
        default:
            break;
    }
}

void k_sys_fatal_error_handler(unsigned int reason, const z_arch_esf_t *esf)
{
    ARG_UNUSED(esf);
    ARG_UNUSED(reason);

    LOG_PANIC();

    LOG_ERR("Resetting system");
    sys_reboot(SYS_REBOOT_COLD);

    CODE_UNREACHABLE;
}
```
